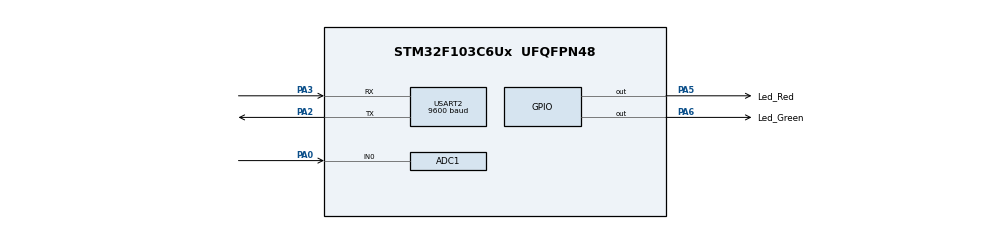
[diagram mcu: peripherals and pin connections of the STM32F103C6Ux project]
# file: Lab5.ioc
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ADC1.Channel-0\#ChannelRegularConversion=ADC_CHANNEL_0
ADC1.ContinuousConvMode=ENABLE
ADC1.NbrOfConversionFlag=1
ADC1.Rank-0\#ChannelRegularConversion=1
ADC1.SamplingTime-0\#ChannelRegularConversion=ADC_SAMPLETIME_1CYCLE_5
ADC1.master=1
Mcu.Family=STM32F1
Mcu.Name=STM32F103C6Ux
Mcu.Package=UFQFPN48
NVIC.PriorityGroup=NVIC_PRIORITYGROUP_4
NVIC.TIM2_IRQn=true\:0\:0\:false\:false\:true\:true\:true
NVIC.USART2_IRQn=true\:0\:0\:false\:false\:true\:true\:true
PA0-WKUP.Signal=ADCx_IN0
PA13.Mode=Serial_Wire
PA13.Signal=SYS_JTMS-SWDIO
PA14.Mode=Serial_Wire
PA14.Signal=SYS_JTCK-SWCLK
PA2.Mode=Asynchronous
PA2.Signal=USART2_TX
PA3.Mode=Asynchronous
PA3.Signal=USART2_RX
PA5.GPIO_Label=Led_Red
PA5.Signal=GPIO_Output
PA6.GPIO_Label=Led_Green
PA6.Signal=GPIO_Output
ProjectManager.HeapSize=0x200
ProjectManager.StackSize=0x400
ProjectManager.TargetToolchain=STM32CubeIDE
RCC.APB1Freq_Value=8000000
RCC.APB2Freq_Value=8000000
SH.ADCx_IN0.0=ADC1_IN0,IN0
TIM2.Period=9
TIM2.Prescaler=7999
USART2.BaudRate=9600
USART2.VirtualMode=VM_ASYNC
VP_TIM2_VS_ClockSourceINT.Mode=Internal
board=custom

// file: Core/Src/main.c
/* USER CODE BEGIN Header */
/**
  ******************************************************************************
  * @file           : main.c
  * @brief          : Main program body
  ******************************************************************************
  * @attention
  *
  * <h2><center>&copy; Copyright (c) 2022 STMicroelectronics.
  * All rights reserved.</center></h2>
  *
  * This software component is licensed by ST under BSD 3-Clause license,
  * the "License"; You may not use this file except in compliance with the
  * License. You may obtain a copy of the License at:
  *                        opensource.org/licenses/BSD-3-Clause
  *
  ******************************************************************************
  */
/* USER CODE END Header */
#include "main.h"
#include "global.h"
#include "software_timer.h"
#include "fsm.h"

ADC_HandleTypeDef hadc1;

TIM_HandleTypeDef htim2;

UART_HandleTypeDef huart2;

void SystemClock_Config(void);
static void MX_GPIO_Init(void);
static void MX_ADC1_Init(void);
static void MX_USART2_UART_Init(void);
static void MX_TIM2_Init(void);

/* USER CODE BEGIN 0 */
//=================================================================================================================================
uint8_t temp = 0;
uint8_t index_buffer = 0;
uint8_t buffer_flag = 0;
uint8_t recieve_buffer= 0;

uint8_t buffer[ MAX_BUFFER_SIZE ];
uint8_t command_length= 0;
void HAL_UART_RxCpltCallback ( UART_HandleTypeDef * huart ) {
    if( huart -> Instance == USART2 ) {
//    	HAL_UART_Transmit (& huart2 , & temp ,1, 100);
//
//		buffer[index_buffer ++] = temp ;
//		if( index_buffer == 30) index_buffer = 0;
//		buffer_flag = 1;

    	switch(temp) {
    	case '\b':
			buffer[command_length - 1] = 0;
			command_length--;
    	break;
    	case ' ':		// space
//    		ERROR_CODE = INVALID_INPUT;
//    		UARTstate = ERROR;
    	break;
    	case '\r':
    		buffer_flag = 1;
    		break;
    	default:
    		buffer[command_length] = temp;
    		command_length++;
    		break;
    	}
		HAL_UART_Receive_IT (& huart2 , & temp , 1) ;
    }
    timerRun();
}
//=================================================================================================================================
/* USER CODE END 0 */

int main(void)
{

  /* MCU Configuration--------------------------------------------------------*/

  /* Reset of all peripherals, Initializes the Flash interface and the Systick. */
  HAL_Init();

  /* Configure the system clock */
  SystemClock_Config();

  /* Initialize all configured peripherals */
  MX_GPIO_Init();
  MX_ADC1_Init();
  MX_USART2_UART_Init();
  MX_TIM2_Init();
  /* USER CODE BEGIN 2 */
  HAL_UART_Receive_IT (& huart2 , & temp , 1) ;
  HAL_TIM_Base_Start_IT (& htim2 ) ;
  /* USER CODE END 2 */

  /* Infinite loop */
  /* USER CODE BEGIN WHILE */
//  uint32_t ADC_value= 0;
//  uint8_t str[]="";
  while (1)
  {
    /* USER CODE END WHILE */

    /* USER CODE BEGIN 3 */
//============================================================
	  if( buffer_flag == 1) {
	  	command_parser_fsm () ;
	  	buffer_flag = 0;
	  }
	  uart_communiation_fsm () ;
//============================================================

  }
  /* USER CODE END 3 */
}

void SystemClock_Config(void)
{
  RCC_OscInitTypeDef RCC_OscInitStruct = {0};
  RCC_ClkInitTypeDef RCC_ClkInitStruct = {0};
  RCC_PeriphCLKInitTypeDef PeriphClkInit = {0};

  /** Initializes the RCC Oscillators according to the specified parameters
  * in the RCC_OscInitTypeDef structure.
  */
  RCC_OscInitStruct.OscillatorType = RCC_OSCILLATORTYPE_HSI;
  RCC_OscInitStruct.HSIState = RCC_HSI_ON;
  RCC_OscInitStruct.HSICalibrationValue = RCC_HSICALIBRATION_DEFAULT;
  RCC_OscInitStruct.PLL.PLLState = RCC_PLL_NONE;
  if (HAL_RCC_OscConfig(&RCC_OscInitStruct) != HAL_OK)
  {
    Error_Handler();
  }
  /** Initializes the CPU, AHB and APB buses clocks
  */
  RCC_ClkInitStruct.ClockType = RCC_CLOCKTYPE_HCLK|RCC_CLOCKTYPE_SYSCLK
                              |RCC_CLOCKTYPE_PCLK1|RCC_CLOCKTYPE_PCLK2;
  RCC_ClkInitStruct.SYSCLKSource = RCC_SYSCLKSOURCE_HSI;
  RCC_ClkInitStruct.AHBCLKDivider = RCC_SYSCLK_DIV1;
  RCC_ClkInitStruct.APB1CLKDivider = RCC_HCLK_DIV1;
  RCC_ClkInitStruct.APB2CLKDivider = RCC_HCLK_DIV1;

  if (HAL_RCC_ClockConfig(&RCC_ClkInitStruct, FLASH_LATENCY_0) != HAL_OK)
  {
    Error_Handler();
  }
  PeriphClkInit.PeriphClockSelection = RCC_PERIPHCLK_ADC;
  PeriphClkInit.AdcClockSelection = RCC_ADCPCLK2_DIV2;
  if (HAL_RCCEx_PeriphCLKConfig(&PeriphClkInit) != HAL_OK)
  {
    Error_Handler();
  }
}

static void MX_ADC1_Init(void)
{

  ADC_ChannelConfTypeDef sConfig = {0};

  /** Common config
  */
  hadc1.Instance = ADC1;
  hadc1.Init.ScanConvMode = ADC_SCAN_DISABLE;
  hadc1.Init.ContinuousConvMode = ENABLE;
  hadc1.Init.DiscontinuousConvMode = DISABLE;
  hadc1.Init.ExternalTrigConv = ADC_SOFTWARE_START;
  hadc1.Init.DataAlign = ADC_DATAALIGN_RIGHT;
  hadc1.Init.NbrOfConversion = 1;
  if (HAL_ADC_Init(&hadc1) != HAL_OK)
  {
    Error_Handler();
  }
  /** Configure Regular Channel
  */
  sConfig.Channel = ADC_CHANNEL_0;
  sConfig.Rank = ADC_REGULAR_RANK_1;
  sConfig.SamplingTime = ADC_SAMPLETIME_1CYCLE_5;
  if (HAL_ADC_ConfigChannel(&hadc1, &sConfig) != HAL_OK)
  {
    Error_Handler();
  }

}

static void MX_TIM2_Init(void)
{

  TIM_ClockConfigTypeDef sClockSourceConfig = {0};
  TIM_MasterConfigTypeDef sMasterConfig = {0};

  htim2.Instance = TIM2;
  htim2.Init.Prescaler = 7999;
  htim2.Init.CounterMode = TIM_COUNTERMODE_UP;
  htim2.Init.Period = 9;
  htim2.Init.ClockDivision = TIM_CLOCKDIVISION_DIV1;
  htim2.Init.AutoReloadPreload = TIM_AUTORELOAD_PRELOAD_DISABLE;
  if (HAL_TIM_Base_Init(&htim2) != HAL_OK)
  {
    Error_Handler();
  }
  sClockSourceConfig.ClockSource = TIM_CLOCKSOURCE_INTERNAL;
  if (HAL_TIM_ConfigClockSource(&htim2, &sClockSourceConfig) != HAL_OK)
  {
    Error_Handler();
  }
  sMasterConfig.MasterOutputTrigger = TIM_TRGO_RESET;
  sMasterConfig.MasterSlaveMode = TIM_MASTERSLAVEMODE_DISABLE;
  if (HAL_TIMEx_MasterConfigSynchronization(&htim2, &sMasterConfig) != HAL_OK)
  {
    Error_Handler();
  }

}

static void MX_USART2_UART_Init(void)
{

  huart2.Instance = USART2;
  huart2.Init.BaudRate = 9600;
  huart2.Init.WordLength = UART_WORDLENGTH_8B;
  huart2.Init.StopBits = UART_STOPBITS_1;
  huart2.Init.Parity = UART_PARITY_NONE;
  huart2.Init.Mode = UART_MODE_TX_RX;
  huart2.Init.HwFlowCtl = UART_HWCONTROL_NONE;
  huart2.Init.OverSampling = UART_OVERSAMPLING_16;
  if (HAL_UART_Init(&huart2) != HAL_OK)
  {
    Error_Handler();
  }

}

static void MX_GPIO_Init(void)
{
  GPIO_InitTypeDef GPIO_InitStruct = {0};

  /* GPIO Ports Clock Enable */
  __HAL_RCC_GPIOA_CLK_ENABLE();

  /*Configure GPIO pin Output Level */
  HAL_GPIO_WritePin(GPIOA, Led_Red_Pin|Led_Green_Pin, GPIO_PIN_RESET);

  /*Configure GPIO pins : Led_Red_Pin Led_Green_Pin */
  GPIO_InitStruct.Pin = Led_Red_Pin|Led_Green_Pin;
  GPIO_InitStruct.Mode = GPIO_MODE_OUTPUT_PP;
  GPIO_InitStruct.Pull = GPIO_NOPULL;
  GPIO_InitStruct.Speed = GPIO_SPEED_FREQ_LOW;
  HAL_GPIO_Init(GPIOA, &GPIO_InitStruct);

}

/* USER CODE BEGIN 4 */
void HAL_TIM_PeriodElapsedCallback ( TIM_HandleTypeDef * htim )
{
	timerRun();
}
/* USER CODE END 4 */

void Error_Handler(void)
{
  __disable_irq();
  while (1)
  {
  }
}

/************************ (C) COPYRIGHT STMicroelectronics *****END OF FILE****/
